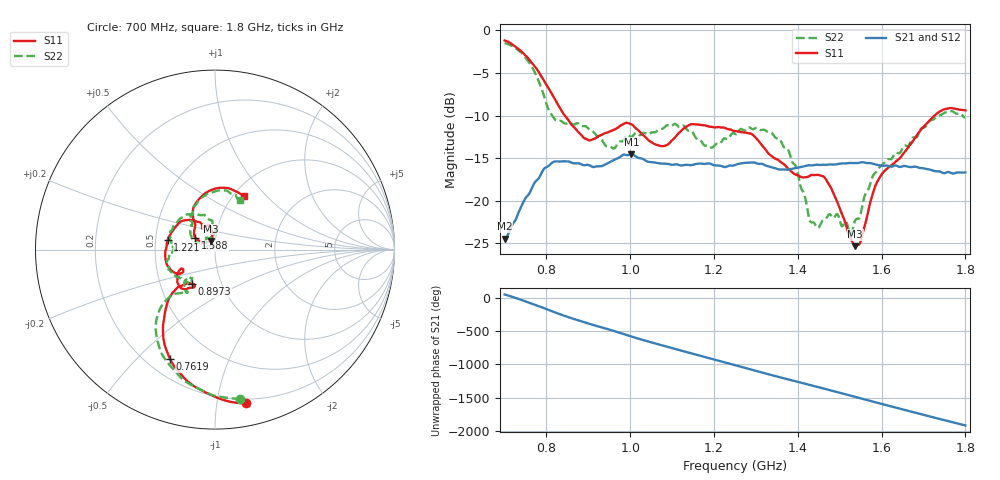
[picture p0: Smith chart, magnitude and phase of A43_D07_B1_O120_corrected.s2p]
! Created with skrf 1.9.0 (http://scikit-rf.org).
# Hz S RI R 50.0
!freq ReS11 ImS11 ReS21 ImS21 ReS12 ImS12 ReS22 ImS22
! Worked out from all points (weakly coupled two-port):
!   1601 points, 700 MHz to 1.8 GHz, reference 50 ohm
!   highest |S21| = -14.57 dB at 1.002 GHz (marker M1); lowest = -24.5 dB at 700 MHz (marker M2)
!   lowest |S11| = -25.3 dB at 1.537 GHz (marker M3), VSWR 1.11, Z = 47.4 + j4.61 ohm
!   |S11| at or under -10 dB: 843.7 MHz to 1.726 GHz (882.4 MHz wide, 68.7 % of centre)
!   |S22| runs from -24.0 to -1.5 dB; largest |S21 - S12| = 0.0035
!   S11 on the Smith chart (normalised r, x): 700 MHz: 0.17, -1.21; 761.9 MHz: 0.29, -0.63; 897.3 MHz: 0.73, -0.29; 1.221 GHz: 0.58, +0.07; 1.588 GHz: 0.80, +0.11; 1.8 GHz: 1.12, +0.75
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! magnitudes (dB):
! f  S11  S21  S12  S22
! 700 MHz  -1.2  -24.5  -24.3  -1.5
! 761.9 MHz  -3.6  -18.9  -18.8  -4.0
! 818.9 MHz  -8.0  -15.4  -15.5  -10.4
! 883.6 MHz  -12.3  -15.7  -15.6  -11.2
! 897.3 MHz  -12.8  -15.8  -15.9  -11.4
! 958.5 MHz  -11.7  -15.3  -15.3  -13.9
! 1.002 GHz  -11.0  -14.6  -14.7  -12.5
! 1.067 GHz  -13.5  -15.6  -15.5  -11.7
! 1.144 GHz  -11.0  -15.8  -15.8  -11.8
! 1.221 GHz  -11.4  -16.0  -16.0  -12.8
! 1.25 GHz  -11.8  -15.8  -15.7  -12.2
! 1.357 GHz  -15.4  -16.3  -16.3  -12.8
! 1.396 GHz  -17.0  -16.2  -16.2  -16.0
! 1.434 GHz  -17.0  -15.9  -15.8  -22.6
! 1.472 GHz  -17.9  -15.8  -15.8  -21.7
! 1.526 GHz  -24.4  -15.6  -15.6  -24.0
! 1.537 GHz  -25.3  -15.6  -15.6  -22.4
! 1.55 GHz  -24.7  -15.5  -15.5  -21.5
! 1.588 GHz  -17.9  -15.8  -15.8  -16.6
! 1.617 GHz  -16.1  -15.9  -15.9  -15.1
! 1.733 GHz  -9.7  -16.5  -16.6  -10.1
! 1.8 GHz  -9.4  -16.7  -16.7  -10.2
